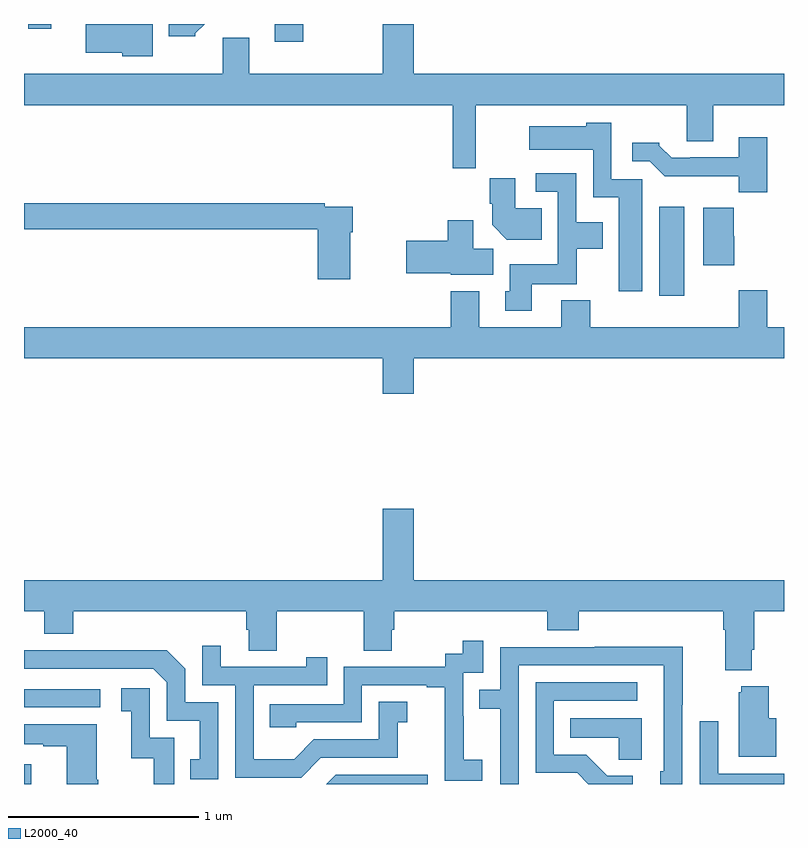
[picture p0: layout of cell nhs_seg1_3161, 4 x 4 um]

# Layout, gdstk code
import gdstk
lib = gdstk.Library(unit=1e-6, precision=1e-09)
def R(c, l, rs):  # rectangles x0, y0, x1, y1
    for r in rs: c.add(gdstk.rectangle(r[:2], r[2:], *l))
def P(c, l, *ps):  # polygons
    for p in ps: c.add(gdstk.Polygon(p, *l))
L2000_40 = (2000, 40)

nhs_seg1_3161 = lib.new_cell('nhs_seg1_3161')
R(nhs_seg1_3161, L2000_40, [(283,508.199,283.039,508.303), (283,508.602,283.402,508.698), (286.343,510.768,286.474,511.237), (284.321,512.106,284.469,512.199), (283.022,512.175,283.144,512.199)])
P(nhs_seg1_3161, L2000_40, [(283.902,512.15),(283.951,512.199),(283.763,512.199),(283.763,512.135),(283.902,512.135)],
  [(283.678,512.199),(283.326,512.199),(283.326,512.048),(283.518,512.048),(283.518,512.03),(283.678,512.03)],
  [(285.377,511.772),(286.487,511.772),(286.487,511.582),(286.627,511.582),(286.627,511.772),(287,511.772),(287,511.936),(285.052,511.936),(285.052,512.199),(284.888,512.199),(284.888,511.936),(284.185,511.936),(284.185,512.126),(284.045,512.126),(284.045,511.936),(283,511.936),(283,511.772),(285.256,511.772),(285.256,511.44),(285.377,511.44)],
  [(286.255,511.383),(286.092,511.383),(286.092,511.678),(285.96,511.678),(285.96,511.66),(285.66,511.66),(285.66,511.538),(285.996,511.538),(285.996,511.286),(286.13,511.286),(286.13,510.792),(286.255,510.792)],
  [(286.911,511.603),(286.763,511.603),(286.763,511.497),(286.507,511.497),(286.507,511.494),(286.408,511.494),(286.344,511.558),(286.344,511.573),(286.2,511.573),(286.2,511.476),(286.293,511.476),(286.372,511.398),(286.761,511.398),(286.761,511.313),(286.911,511.313)],
  [(285.673,510.83),(285.909,510.83),(285.909,511.016),(286.045,511.016),(286.045,511.156),(285.906,511.156),(285.906,511.413),(285.693,511.413),(285.693,511.317),(285.81,511.317),(285.81,510.934),(285.557,510.934),(285.557,510.792),(285.533,510.792),(285.533,510.69),(285.673,510.69)],
  [(285.725,511.228),(285.586,511.228),(285.586,511.387),(285.452,511.387),(285.452,511.252),(285.464,511.252),(285.464,511.142),(285.542,511.064),(285.725,511.064)],
  [(284.716,511.103),(284.729,511.103),(284.729,511.236),(284.582,511.236),(284.582,511.256),(283,511.256),(283,511.12),(284.546,511.12),(284.546,510.855),(284.716,510.855)],
  [(286.738,511.083),(286.736,511.083),(286.736,511.231),(286.574,511.231),(286.574,510.93),(286.738,510.93)],
  [(285.469,511.016),(285.364,511.016),(285.364,511.165),(285.23,511.165),(285.23,511.058),(285.012,511.058),(285.012,510.887),(285.246,510.887),(285.246,510.878),(285.469,510.878)],
  [(283,510.44),(284.888,510.44),(284.888,510.252),(285.052,510.252),(285.052,510.44),(287,510.44),(287,510.604),(286.911,510.604),(286.911,510.799),(286.763,510.799),(286.763,510.604),(285.98,510.604),(285.98,510.745),(285.827,510.745),(285.827,510.604),(285.397,510.604),(285.397,510.793),(285.245,510.793),(285.245,510.604),(283,510.604)],
  [(286.831,508.906),(286.844,508.906),(286.844,509.108),(287,509.108),(287,509.272),(285.052,509.272),(285.052,509.647),(284.888,509.647),(284.888,509.272),(283,509.272),(283,509.108),(283.106,509.108),(283.106,508.991),(283.259,508.991),(283.259,509.108),(284.171,509.108),(284.171,509.01),(284.183,509.01),(284.183,508.9),(284.331,508.9),(284.331,509.108),(284.788,509.108),(284.788,508.9),(284.935,508.9),(284.935,509.01),(284.948,509.01),(284.948,509.108),(285.755,509.108),(285.755,509.009),(285.92,509.009),(285.92,509.108),(286.679,509.108),(286.679,509.012),(286.691,509.012),(286.691,508.799),(286.831,508.799)],
  [(285.412,508.327),(285.314,508.327),(285.314,508.556),(285.312,508.556),(285.312,508.785),(285.417,508.785),(285.417,508.954),(285.309,508.954),(285.309,508.884),(285.216,508.884),(285.216,508.815),(284.682,508.815),(284.682,508.62),(284.293,508.62),(284.293,508.497),(284.433,508.497),(284.433,508.524),(284.778,508.524),(284.778,508.719),(285.119,508.719),(285.119,508.707),(285.215,508.707),(285.215,508.423),(285.214,508.423),(285.214,508.217),(285.412,508.217)],
  [(284.563,508.338),(284.967,508.338),(284.967,508.523),(285.016,508.523),(285.016,508.633),(284.868,508.633),(284.868,508.434),(284.526,508.434),(284.422,508.33),(284.208,508.33),(284.208,508.719),(284.597,508.719),(284.597,508.867),(284.486,508.867),(284.486,508.815),(284.035,508.815),(284.035,508.927),(283.938,508.927),(283.938,508.719),(284.112,508.719),(284.112,508.233),(284.458,508.233)],
  [(285.603,508.824),(286.368,508.824),(286.368,508.266),(286.349,508.266),(286.349,508.199),(286.464,508.199),(286.464,508.615),(286.467,508.615),(286.467,508.922),(286.003,508.922),(286.003,508.92),(285.507,508.92),(285.507,508.695),(285.397,508.695),(285.397,508.594),(285.507,508.594),(285.507,508.199),(285.603,508.199)],
  [(284.022,508.629),(283.848,508.629),(283.848,508.806),(283.75,508.904),(283.342,508.904),(283.342,508.902),(283,508.902),(283,508.806),(283.68,508.806),(283.752,508.734),(283.752,508.533),(283.925,508.533),(283.925,508.329),(283.876,508.329),(283.876,508.224),(284.022,508.224)],
  [(286.204,508.242),(286.069,508.242),(285.958,508.353),(285.789,508.353),(285.789,508.638),(286.228,508.638),(286.228,508.734),(285.693,508.734),(285.693,508.257),(285.912,508.257),(285.971,508.199),(286.204,508.199)],
  [(286.96,508.546),(286.921,508.546),(286.921,508.714),(286.775,508.714),(286.775,508.683),(286.763,508.683),(286.763,508.343),(286.96,508.343)],
  [(283.791,508.443),(283.662,508.443),(283.662,508.702),(283.512,508.702),(283.512,508.581),(283.565,508.581),(283.565,508.335),(283.683,508.335),(283.683,508.199),(283.791,508.199)],
  [(286.252,508.546),(285.874,508.546),(285.874,508.442),(286.131,508.442),(286.131,508.327),(286.252,508.327)],
  [(287,508.254),(286.653,508.254),(286.653,508.528),(286.557,508.528),(286.557,508.199),(287,508.199)],
  [(283.392,508.222),(283.384,508.222),(283.384,508.513),(283,508.513),(283,508.409),(283.1,508.409),(283.1,508.399),(283.226,508.399),(283.226,508.199),(283.392,508.199)],
  [(285.126,508.248),(284.64,508.248),(284.591,508.199),(285.126,508.199)])

lib.write_gds('nhs_seg1_3161.gds')
